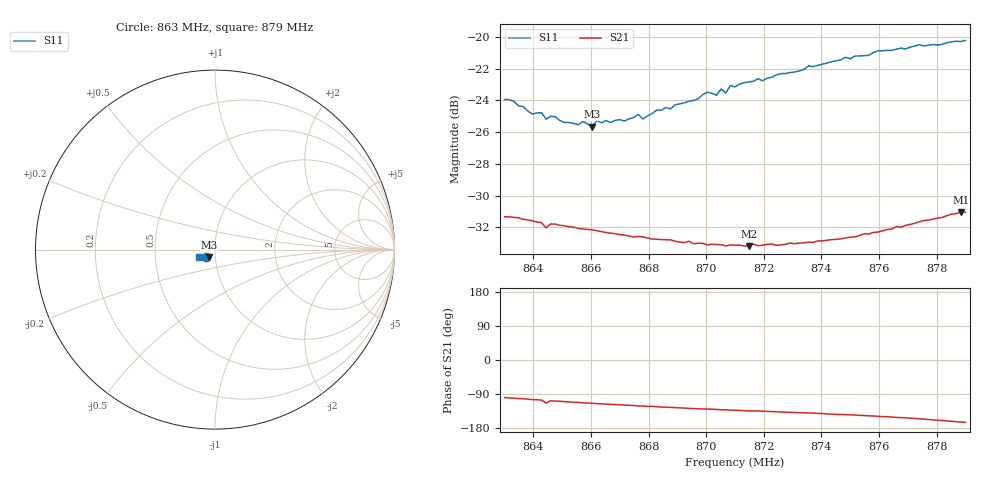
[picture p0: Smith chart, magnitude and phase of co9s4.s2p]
# HZ S RI R 50
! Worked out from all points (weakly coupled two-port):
!   101 points, 863 MHz to 879 MHz, reference 50 ohm
!   highest |S21| = -31.04 dB at 878.84 MHz (marker M1); lowest = -33.2 dB at 871.48 MHz (marker M2)
!   lowest |S11| = -25.7 dB at 866.04 MHz (marker M3), VSWR 1.11, Z = 46.7 - j3.78 ohm
!   |S11| at or under -10 dB: start of sweep to end of sweep
!   S12 and S22 are empty: the file has one direction only
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8.63e8  -0.0496 -0.0395  -0.00428 -0.0268  0 0  0 0
8.6396e8  -0.0431 -0.0375  -0.00657 -0.0255  0 0  0 0
8.6428e8  -0.0423 -0.0391  -0.007 -0.025  0 0  0 0
8.6444e8  -0.0406 -0.0371  -0.01 -0.0229  0 0  0 0
8.6476e8  -0.0402 -0.039  -0.00817 -0.0244  0 0  0 0
8.6508e8  -0.0371 -0.0389  -0.00865 -0.0239  0 0  0 0
8.6572e8  -0.0354 -0.041  -0.00975 -0.0228  0 0  0 0
8.6604e8  -0.033 -0.0404  -0.0102 -0.0225  0 0  0 0
8.662e8  -0.035 -0.0417  -0.0104 -0.0222  0 0  0 0
8.6716e8  -0.0317 -0.0441  -0.0115 -0.0208  0 0  0 0
8.6764e8  -0.0321 -0.0471  -0.0122 -0.0201  0 0  0 0
8.678e8  -0.0306 -0.0458  -0.0121 -0.02  0 0  0 0
8.6844e8  -0.0319 -0.0493  -0.0129 -0.019  0 0  0 0
8.7004e8  -0.0353 -0.0568  -0.0141 -0.0171  0 0  0 0
8.7036e8  -0.0352 -0.0553  -0.0144 -0.0169  0 0  0 0
8.7052e8  -0.0373 -0.0575  -0.0146 -0.0166  0 0  0 0
8.71e8  -0.0388 -0.0577  -0.0149 -0.0162  0 0  0 0
8.7148e8  -0.0401 -0.0599  -0.0153 -0.0157  0 0  0 0
8.7372e8  -0.051 -0.0623  -0.0173 -0.0145  0 0  0 0
8.7644e8  -0.0713 -0.0558  -0.0216 -0.0121  0 0  0 0
8.7884e8  -0.0869 -0.0422  -0.0269 -0.00789  0 0  0 0
8.79e8  -0.0885 -0.0407  -0.027 -0.00739  0 0  0 0
